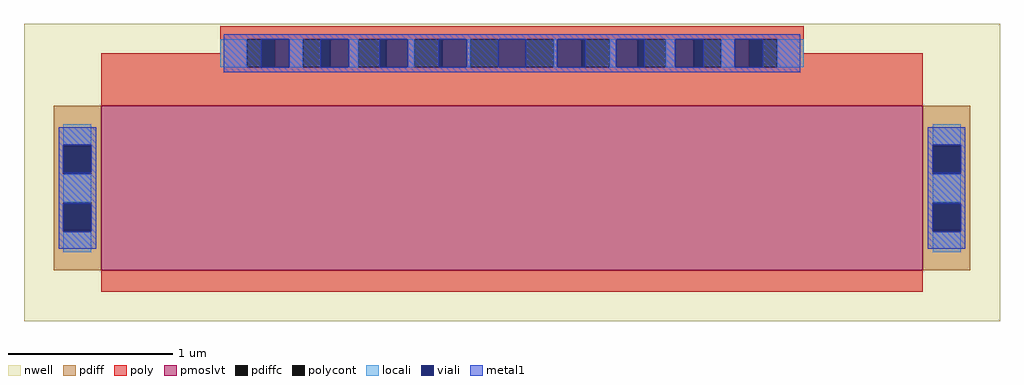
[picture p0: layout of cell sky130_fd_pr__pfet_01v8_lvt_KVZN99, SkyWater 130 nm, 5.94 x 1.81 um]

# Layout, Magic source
magic
tech sky130A
magscale 1 2
<< nwell >>
rect -594 -198 594 164
<< pmoslvt >>
rect -500 -136 500 64
<< pdiff >>
rect -558 15 -500 64
rect -558 -19 -546 15
rect -512 -19 -500 15
rect -558 -53 -500 -19
rect -558 -87 -546 -53
rect -512 -87 -500 -53
rect -558 -136 -500 -87
rect 500 15 558 64
rect 500 -19 512 15
rect 546 -19 558 15
rect 500 -53 558 -19
rect 500 -87 512 -53
rect 546 -87 558 -53
rect 500 -136 558 -87
<< pdiffc >>
rect -546 -19 -512 15
rect -546 -87 -512 -53
rect 512 -19 546 15
rect 512 -87 546 -53
<< poly >>
rect -355 145 355 161
rect -355 128 -323 145
rect -500 111 -323 128
rect -289 111 -255 145
rect -221 111 -187 145
rect -153 111 -119 145
rect -85 111 -51 145
rect -17 111 17 145
rect 51 111 85 145
rect 119 111 153 145
rect 187 111 221 145
rect 255 111 289 145
rect 323 128 355 145
rect 323 111 500 128
rect -500 64 500 111
rect -500 -162 500 -136
<< polycont >>
rect -323 111 -289 145
rect -255 111 -221 145
rect -187 111 -153 145
rect -119 111 -85 145
rect -51 111 -17 145
rect 17 111 51 145
rect 85 111 119 145
rect 153 111 187 145
rect 221 111 255 145
rect 289 111 323 145
<< locali >>
rect -355 111 -323 145
rect -271 111 -255 145
rect -199 111 -187 145
rect -127 111 -119 145
rect -55 111 -51 145
rect 51 111 55 145
rect 119 111 127 145
rect 187 111 199 145
rect 255 111 271 145
rect 323 111 355 145
rect -546 17 -512 42
rect -546 -53 -512 -19
rect -546 -114 -512 -89
rect 512 17 546 42
rect 512 -53 546 -19
rect 512 -114 546 -89
<< viali >>
rect -305 111 -289 145
rect -289 111 -271 145
rect -233 111 -221 145
rect -221 111 -199 145
rect -161 111 -153 145
rect -153 111 -127 145
rect -89 111 -85 145
rect -85 111 -55 145
rect -17 111 17 145
rect 55 111 85 145
rect 85 111 89 145
rect 127 111 153 145
rect 153 111 161 145
rect 199 111 221 145
rect 221 111 233 145
rect 271 111 289 145
rect 289 111 305 145
rect -546 15 -512 17
rect -546 -17 -512 15
rect -546 -87 -512 -55
rect -546 -89 -512 -87
rect 512 15 546 17
rect 512 -17 546 15
rect 512 -87 546 -55
rect 512 -89 546 -87
<< metal1 >>
rect -351 145 351 151
rect -351 111 -305 145
rect -271 111 -233 145
rect -199 111 -161 145
rect -127 111 -89 145
rect -55 111 -17 145
rect 17 111 55 145
rect 89 111 127 145
rect 161 111 199 145
rect 233 111 271 145
rect 305 111 351 145
rect -351 105 351 111
rect -552 17 -506 38
rect -552 -17 -546 17
rect -512 -17 -506 17
rect -552 -55 -506 -17
rect -552 -89 -546 -55
rect -512 -89 -506 -55
rect -552 -110 -506 -89
rect 506 17 552 38
rect 506 -17 512 17
rect 546 -17 552 17
rect 506 -55 552 -17
rect 506 -89 512 -55
rect 546 -89 552 -55
rect 506 -110 552 -89
<< end >>
